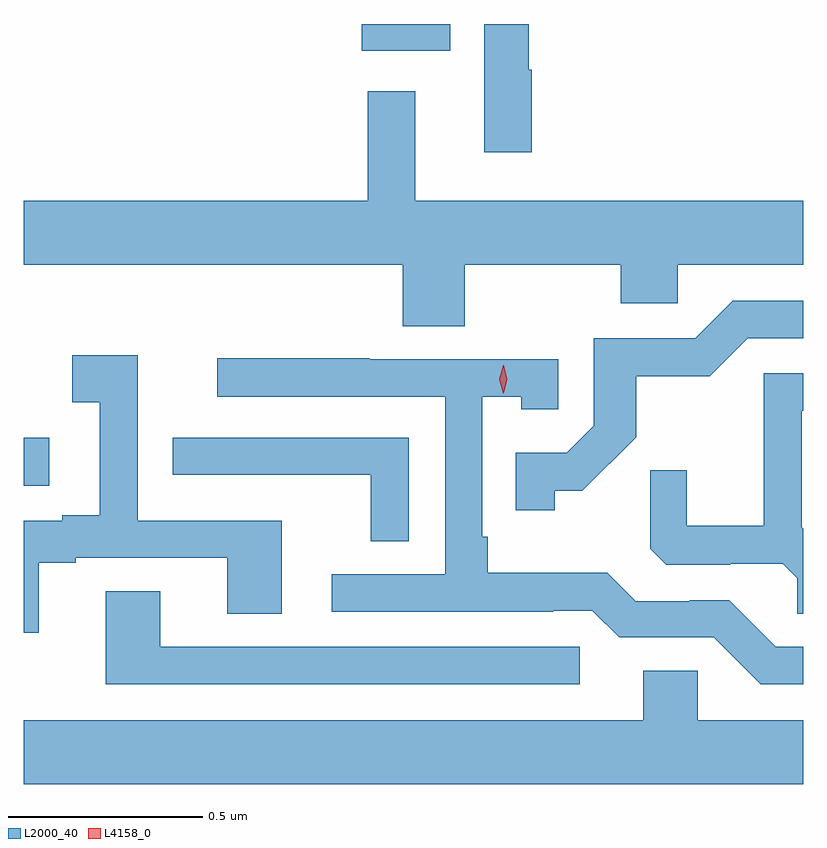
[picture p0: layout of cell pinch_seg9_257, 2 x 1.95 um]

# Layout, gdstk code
import gdstk
lib = gdstk.Library(unit=1e-6, precision=1e-09)
def R(c, l, rs):  # rectangles x0, y0, x1, y1
    for r in rs: c.add(gdstk.rectangle(r[:2], r[2:], *l))
def P(c, l, *ps):  # polygons
    for p in ps: c.add(gdstk.Polygon(p, *l))
L2000_40 = (2000, 40)
L4158_0 = (4158, 0)

pinch_seg9_257 = lib.new_cell('pinch_seg9_257')
R(pinch_seg9_257, L2000_40, [(438.665,1245.137,438.73,1245.261), (439.532,1246.253,439.759,1246.322)])
P(pinch_seg9_257, L2000_40, [(439.969,1246.205),(439.961,1246.205),(439.961,1246.322),(439.847,1246.322),(439.847,1245.993),(439.969,1245.993)],
  [(439.797,1245.704),(440.197,1245.704),(440.197,1245.606),(440.343,1245.606),(440.343,1245.704),(440.665,1245.704),(440.665,1245.868),(439.669,1245.868),(439.669,1246.15),(439.548,1246.15),(439.548,1245.868),(438.665,1245.868),(438.665,1245.704),(439.637,1245.704),(439.637,1245.547),(439.797,1245.547)],
  [(440.028,1245.125),(440.098,1245.125),(440.236,1245.262),(440.236,1245.418),(440.425,1245.418),(440.523,1245.516),(440.665,1245.516),(440.665,1245.612),(440.484,1245.612),(440.388,1245.516),(440.127,1245.516),(440.127,1245.291),(440.058,1245.222),(439.927,1245.222),(439.927,1245.075),(440.028,1245.075)],
  [(438.703,1244.94),(438.799,1244.94),(438.799,1244.952),(439.187,1244.952),(439.187,1244.809),(439.327,1244.809),(439.327,1245.048),(438.957,1245.048),(438.957,1245.472),(438.789,1245.472),(438.789,1245.352),(438.86,1245.352),(438.86,1245.061),(438.764,1245.061),(438.764,1245.048),(438.665,1245.048),(438.665,1244.76),(438.703,1244.76)],
  [(440.665,1244.724),(440.595,1244.724),(440.475,1244.844),(440.374,1244.844),(440.374,1244.841),(440.235,1244.841),(440.162,1244.914),(439.855,1244.914),(439.855,1245.007),(439.842,1245.007),(439.842,1245.365),(439.941,1245.365),(439.941,1245.333),(440.037,1245.333),(440.037,1245.462),(439.553,1245.462),(439.553,1245.465),(439.161,1245.465),(439.161,1245.366),(439.746,1245.366),(439.746,1244.91),(439.455,1244.91),(439.455,1244.814),(440.024,1244.814),(440.024,1244.817),(440.124,1244.817),(440.193,1244.748),(440.436,1244.748),(440.556,1244.628),(440.665,1244.628)],
  [(440.665,1245.027),(440.661,1245.031),(440.661,1245.33),(440.665,1245.33),(440.665,1245.426),(440.564,1245.426),(440.564,1245.034),(440.366,1245.034),(440.366,1245.177),(440.272,1245.177),(440.272,1244.975),(440.313,1244.934),(440.478,1244.934),(440.478,1244.937),(440.612,1244.937),(440.649,1244.9),(440.649,1244.809),(440.665,1244.809)],
  [(439.653,1245.261),(439.047,1245.261),(439.047,1245.166),(439.159,1245.166),(439.159,1245.165),(439.555,1245.165),(439.555,1244.995),(439.653,1244.995)],
  [(440.092,1244.724),(439.015,1244.724),(439.015,1244.867),(438.875,1244.867),(438.875,1244.628),(440.092,1244.628)],
  [(440.665,1244.536),(440.394,1244.536),(440.394,1244.663),(440.255,1244.663),(440.255,1244.536),(438.665,1244.536),(438.665,1244.372),(440.665,1244.372)])
P(pinch_seg9_257, L4158_0, [(439.895,1245.375),(439.895,1245.375),(439.885,1245.411),(439.895,1245.447),(439.895,1245.447),(439.896,1245.447),(439.905,1245.411),(439.896,1245.375)])

lib.write_gds('pinch_seg9_257.gds')
